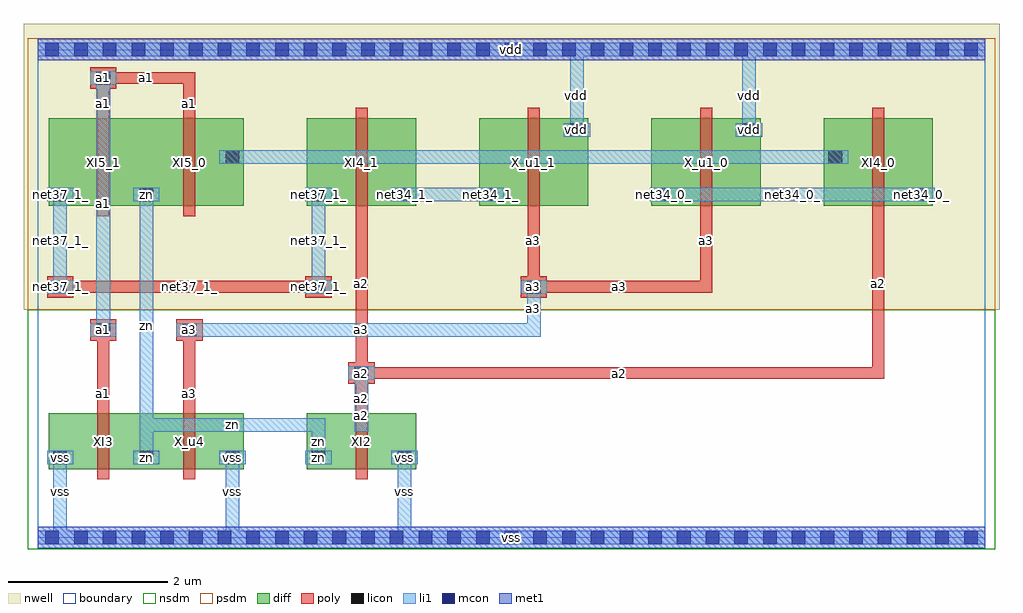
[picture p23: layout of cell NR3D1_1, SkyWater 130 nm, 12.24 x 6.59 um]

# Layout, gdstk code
import gdstk
lib = gdstk.Library(unit=1e-6, precision=1e-09)
def R(c, l, rs):  # rectangles x0, y0, x1, y1
    for r in rs: c.add(gdstk.rectangle(r[:2], r[2:], *l))
def A(c, l, x, y, w, h, nx, ny, dx, dy):  # array of equal rectangles
    R(c, l, [(x+i*dx, y+j*dy, x+i*dx+w, y+j*dy+h) for i in range(nx) for j in range(ny)])
L0_0 = (0, 0)
nwell = (64, 20)
diff = (65, 20)
poly = (66, 20)
licon = (66, 44)
li1 = (67, 20)
mcon = (67, 44)
met1 = (68, 20)
nsdm = (93, 44)
psdm = (94, 20)
boundary = (235, 4)

nr3d1_1 = lib.new_cell('NR3D1_1')
R(nr3d1_1, nwell, [(-0.18,2.86,12.06,6.445)])
A(nr3d1_1, diff, 0.135, 0.86, 0.29, 0.29, 5, 1, 1.08, 0)
A(nr3d1_1, diff, 1.215, 4.16, 1.37, 1.1, 5, 1, 2.16, 0)
A(nr3d1_1, diff, 3.375, 4.16, 0.29, 0.29, 3, 1, 1.08, 0)
R(nr3d1_1, diff, [(0.135,0.86,1.505,1.56), (1.215,0.86,2.585,1.56), (3.375,0.86,4.745,1.56), (0.135,4.16,1.505,5.26), (0.135,4.16,0.425,4.45), (1.215,4.16,1.505,4.45), (7.695,4.16,7.985,4.45), (10.935,4.16,11.225,4.45), (2.295,4.63,2.585,4.92), (9.855,4.63,10.145,4.92), (6.615,4.97,6.905,5.26), (8.775,4.97,9.065,5.26)])
A(nr3d1_1, poly, 1.825, 4.03, 0.15, 1.36, 5, 1, 2.16, 0)
R(nr3d1_1, poly, [(0.745,0.73,0.895,1.69), (1.825,0.73,1.975,1.69), (3.985,0.73,4.135,1.69), (0.745,0.93,0.895,2.68), (1.825,0.93,1.975,2.68), (3.985,0.93,4.135,2.14), (3.895,1.93,4.225,2.2), (3.985,1.99,10.615,2.14), (3.985,1.99,4.135,4.38), (10.465,1.99,10.615,4.38), (0.655,2.47,0.985,2.74), (1.735,2.47,2.065,2.74), (0.115,3.01,0.445,3.28), (3.355,3.01,3.685,3.28), (6.055,3.01,6.385,3.28), (0.205,3.07,3.595,3.22), (6.145,3.07,6.295,4.38), (6.145,3.07,8.455,3.22), (8.305,3.07,8.455,4.38), (0.745,4.03,0.895,5.39), (0.745,5.04,0.895,5.84), (1.825,5.04,1.975,5.84), (0.655,5.63,0.985,5.9), (0.745,5.69,1.975,5.84)])
A(nr3d1_1, licon, 0.195, 0.92, 0.17, 0.17, 5, 1, 1.08, 0)
A(nr3d1_1, licon, 3.435, 4.22, 0.17, 0.17, 3, 1, 1.08, 0)
R(nr3d1_1, licon, [(3.975,1.98,4.145,2.15), (0.735,2.52,0.905,2.69), (1.815,2.52,1.985,2.69), (0.195,3.06,0.365,3.23), (3.435,3.06,3.605,3.23), (6.135,3.06,6.305,3.23), (0.195,4.22,0.365,4.39), (1.275,4.22,1.445,4.39), (7.755,4.22,7.925,4.39), (10.995,4.22,11.165,4.39), (2.355,4.69,2.525,4.86), (9.915,4.69,10.085,4.86), (6.675,5.03,6.845,5.2), (8.835,5.03,9.005,5.2), (0.735,5.68,0.905,5.85)])
A(nr3d1_1, li1, 0.195, 0.06, 0.17, 1.03, 3, 1, 2.16, 0)
A(nr3d1_1, li1, 0.115, 0.92, 0.33, 0.17, 5, 1, 1.08, 0)
A(nr3d1_1, li1, 3.355, 4.22, 0.33, 0.17, 3, 1, 1.08, 0)
R(nr3d1_1, li1, [(0,-0.085,11.88,0.085), (1.275,0.92,1.445,4.39), (3.435,0.92,3.605,1.5), (1.275,1.33,3.605,1.5), (3.975,1.33,4.145,2.15), (3.895,1.98,4.225,2.15), (0.655,2.52,0.985,2.69), (0.735,2.52,0.905,5.85), (1.735,2.52,2.065,2.69), (1.815,2.52,6.305,2.69), (6.135,2.52,6.305,3.23), (0.115,3.06,0.445,3.23), (0.195,3.06,0.365,4.39), (3.355,3.06,3.685,3.23), (3.435,3.06,3.605,4.39), (6.055,3.06,6.385,3.23), (0.115,4.22,0.445,4.39), (1.195,4.22,1.525,4.39), (4.515,4.22,5.765,4.39), (7.675,4.22,8.005,4.39), (7.755,4.22,11.165,4.39), (10.915,4.22,11.245,4.39), (2.275,4.69,2.605,4.86), (2.355,4.69,10.085,4.86), (9.835,4.69,10.165,4.86), (6.595,5.03,6.925,5.2), (6.675,5.03,6.845,6.06), (8.755,5.03,9.085,5.2), (8.835,5.03,9.005,6.06), (0.655,5.68,0.985,5.85), (0,6.035,11.88,6.205)])
A(nr3d1_1, mcon, 0.095, -0.085, 0.17, 0.17, 33, 2, 0.36, 6.12)
R(nr3d1_1, met1, [(0,-0.135,11.88,0.135), (0,5.985,11.88,6.255)])
R(nr3d1_1, nsdm, [(-0.125,-0.145,12.005,0.145), (-0.125,0.145,12.005,2.86)])
R(nr3d1_1, psdm, [(-0.125,2.86,12.005,5.975), (-0.125,5.975,12.005,6.265)])
R(nr3d1_1, boundary, [(0,0,11.88,6.12)])
nr3d1_1.add(gdstk.FlexPath([(0.115,0.355),(11.245,0.355)], 0, ends="flush", simple_path=True, layer=0, datatype=0))  # L0_0
nr3d1_1.add(gdstk.FlexPath([(0.115,1.005),(11.245,1.005)], 0, ends="flush", simple_path=True, layer=0, datatype=0))  # L0_0
nr3d1_1.add(gdstk.FlexPath([(0.115,1.415),(11.245,1.415)], 0, ends="flush", simple_path=True, layer=0, datatype=0))  # L0_0
nr3d1_1.add(gdstk.FlexPath([(0.115,2.065),(11.245,2.065)], 0, ends="flush", simple_path=True, layer=0, datatype=0))  # L0_0
nr3d1_1.add(gdstk.FlexPath([(0.115,2.605),(11.245,2.605)], 0, ends="flush", simple_path=True, layer=0, datatype=0))  # L0_0
nr3d1_1.add(gdstk.FlexPath([(0.115,3.145),(11.245,3.145)], 0, ends="flush", simple_path=True, layer=0, datatype=0))  # L0_0
nr3d1_1.add(gdstk.FlexPath([(0.115,4.305),(11.245,4.305)], 0, ends="flush", simple_path=True, layer=0, datatype=0))  # L0_0
nr3d1_1.add(gdstk.FlexPath([(0.115,4.775),(11.245,4.775)], 0, ends="flush", simple_path=True, layer=0, datatype=0))  # L0_0
nr3d1_1.add(gdstk.FlexPath([(0.115,5.115),(11.245,5.115)], 0, ends="flush", simple_path=True, layer=0, datatype=0))  # L0_0
nr3d1_1.add(gdstk.FlexPath([(0.115,5.765),(11.245,5.765)], 0, ends="flush", simple_path=True, layer=0, datatype=0))  # L0_0
nr3d1_1.add(gdstk.FlexPath([(0.28,0.06),(0.28,6.06)], 0, ends="flush", simple_path=True, layer=0, datatype=0))  # L0_0
nr3d1_1.add(gdstk.FlexPath([(0.82,0.06),(0.82,6.06)], 0, ends="flush", simple_path=True, layer=0, datatype=0))  # L0_0
nr3d1_1.add(gdstk.FlexPath([(1.36,0.06),(1.36,6.06)], 0, ends="flush", simple_path=True, layer=0, datatype=0))  # L0_0
nr3d1_1.add(gdstk.FlexPath([(1.9,0.06),(1.9,6.06)], 0, ends="flush", simple_path=True, layer=0, datatype=0))  # L0_0
nr3d1_1.add(gdstk.FlexPath([(2.44,0.06),(2.44,6.06)], 0, ends="flush", simple_path=True, layer=0, datatype=0))  # L0_0
nr3d1_1.add(gdstk.FlexPath([(2.98,0.06),(2.98,6.06)], 0, ends="flush", simple_path=True, layer=0, datatype=0))  # L0_0
nr3d1_1.add(gdstk.FlexPath([(3.52,0.06),(3.52,6.06)], 0, ends="flush", simple_path=True, layer=0, datatype=0))  # L0_0
nr3d1_1.add(gdstk.FlexPath([(4.06,0.06),(4.06,6.06)], 0, ends="flush", simple_path=True, layer=0, datatype=0))  # L0_0
nr3d1_1.add(gdstk.FlexPath([(4.6,0.06),(4.6,6.06)], 0, ends="flush", simple_path=True, layer=0, datatype=0))  # L0_0
nr3d1_1.add(gdstk.FlexPath([(5.14,0.06),(5.14,6.06)], 0, ends="flush", simple_path=True, layer=0, datatype=0))  # L0_0
nr3d1_1.add(gdstk.FlexPath([(5.68,0.06),(5.68,6.06)], 0, ends="flush", simple_path=True, layer=0, datatype=0))  # L0_0
nr3d1_1.add(gdstk.FlexPath([(6.22,0.06),(6.22,6.06)], 0, ends="flush", simple_path=True, layer=0, datatype=0))  # L0_0
nr3d1_1.add(gdstk.FlexPath([(6.76,0.06),(6.76,6.06)], 0, ends="flush", simple_path=True, layer=0, datatype=0))  # L0_0
nr3d1_1.add(gdstk.FlexPath([(7.3,0.06),(7.3,6.06)], 0, ends="flush", simple_path=True, layer=0, datatype=0))  # L0_0
nr3d1_1.add(gdstk.FlexPath([(7.84,0.06),(7.84,6.06)], 0, ends="flush", simple_path=True, layer=0, datatype=0))  # L0_0
nr3d1_1.add(gdstk.FlexPath([(8.38,0.06),(8.38,6.06)], 0, ends="flush", simple_path=True, layer=0, datatype=0))  # L0_0
nr3d1_1.add(gdstk.FlexPath([(8.92,0.06),(8.92,6.06)], 0, ends="flush", simple_path=True, layer=0, datatype=0))  # L0_0
nr3d1_1.add(gdstk.FlexPath([(9.46,0.06),(9.46,6.06)], 0, ends="flush", simple_path=True, layer=0, datatype=0))  # L0_0
nr3d1_1.add(gdstk.FlexPath([(10,0.06),(10,6.06)], 0, ends="flush", simple_path=True, layer=0, datatype=0))  # L0_0
nr3d1_1.add(gdstk.FlexPath([(10.54,0.06),(10.54,6.06)], 0, ends="flush", simple_path=True, layer=0, datatype=0))  # L0_0
nr3d1_1.add(gdstk.FlexPath([(11.08,0.06),(11.08,6.06)], 0, ends="flush", simple_path=True, layer=0, datatype=0))  # L0_0
nr3d1_1.add(gdstk.Label('X_u4', (1.9,1.21), layer=65, texttype=20))
nr3d1_1.add(gdstk.Label('XI2', (4.06,1.21), layer=65, texttype=20))
nr3d1_1.add(gdstk.Label('XI3', (0.82,1.21), layer=65, texttype=20))
nr3d1_1.add(gdstk.Label('XI4_0', (10.54,4.71), layer=65, texttype=20))
nr3d1_1.add(gdstk.Label('X_u1_0', (8.38,4.71), layer=65, texttype=20))
nr3d1_1.add(gdstk.Label('X_u1_1', (6.22,4.71), layer=65, texttype=20))
nr3d1_1.add(gdstk.Label('XI4_1', (4.06,4.71), layer=65, texttype=20))
nr3d1_1.add(gdstk.Label('XI5_0', (1.9,4.71), layer=65, texttype=20))
nr3d1_1.add(gdstk.Label('XI5_1', (0.82,4.71), layer=65, texttype=20))
nr3d1_1.add(gdstk.Label('zn', (1.36,1.005), layer=65, texttype=20))
nr3d1_1.add(gdstk.Label('zn', (3.52,1.005), layer=65, texttype=20))
nr3d1_1.add(gdstk.Label('zn', (1.36,4.305), layer=65, texttype=20))
nr3d1_1.add(gdstk.Label('net37_0_', (10,4.775), layer=65, texttype=20))
nr3d1_1.add(gdstk.Label('net37_0_', (2.44,4.775), layer=65, texttype=20))
nr3d1_1.add(gdstk.Label('net34_0_', (11.08,4.305), layer=65, texttype=20))
nr3d1_1.add(gdstk.Label('net34_0_', (7.84,4.305), layer=65, texttype=20))
nr3d1_1.add(gdstk.Label('net34_1_', (5.68,4.305), layer=65, texttype=20))
nr3d1_1.add(gdstk.Label('net34_1_', (4.6,4.305), layer=65, texttype=20))
nr3d1_1.add(gdstk.Label('net37_1_', (3.52,4.305), layer=65, texttype=20))
nr3d1_1.add(gdstk.Label('net37_1_', (0.28,4.305), layer=65, texttype=20))
nr3d1_1.add(gdstk.Label('vss', (2.44,1.005), layer=65, texttype=20))
nr3d1_1.add(gdstk.Label('vss', (4.6,1.005), layer=65, texttype=20))
nr3d1_1.add(gdstk.Label('vss', (0.28,1.005), layer=65, texttype=20))
nr3d1_1.add(gdstk.Label('vdd', (8.92,5.115), layer=65, texttype=20))
nr3d1_1.add(gdstk.Label('vdd', (6.76,5.115), layer=65, texttype=20))
nr3d1_1.add(gdstk.Label('a3', (1.9,1.805), layer=66, texttype=20))
nr3d1_1.add(gdstk.Label('a3', (1.9,2.605), layer=66, texttype=20))
nr3d1_1.add(gdstk.Label('a3', (6.22,3.145), layer=66, texttype=20))
nr3d1_1.add(gdstk.Label('a3', (6.22,3.725), layer=66, texttype=20))
nr3d1_1.add(gdstk.Label('a3', (8.38,3.725), layer=66, texttype=20))
nr3d1_1.add(gdstk.Label('a3', (7.3,3.145), layer=66, texttype=20))
nr3d1_1.add(gdstk.Label('a2', (4.06,1.535), layer=66, texttype=20))
nr3d1_1.add(gdstk.Label('a2', (7.3,2.065), layer=66, texttype=20))
nr3d1_1.add(gdstk.Label('a2', (10.54,3.185), layer=66, texttype=20))
nr3d1_1.add(gdstk.Label('a2', (4.06,3.185), layer=66, texttype=20))
nr3d1_1.add(gdstk.Label('a2', (4.06,2.065), layer=66, texttype=20))
nr3d1_1.add(gdstk.Label('a1', (0.82,1.805), layer=66, texttype=20))
nr3d1_1.add(gdstk.Label('a1', (0.82,2.605), layer=66, texttype=20))
nr3d1_1.add(gdstk.Label('a1', (0.82,5.765), layer=66, texttype=20))
nr3d1_1.add(gdstk.Label('a1', (1.36,5.765), layer=66, texttype=20))
nr3d1_1.add(gdstk.Label('a1', (1.9,5.44), layer=66, texttype=20))
nr3d1_1.add(gdstk.Label('a1', (0.82,5.44), layer=66, texttype=20))
nr3d1_1.add(gdstk.Label('net37_1_', (3.52,3.145), layer=66, texttype=20))
nr3d1_1.add(gdstk.Label('net37_1_', (1.9,3.145), layer=66, texttype=20))
nr3d1_1.add(gdstk.Label('net37_1_', (0.28,3.145), layer=66, texttype=20))
nr3d1_1.add(gdstk.Label('zn', (1.36,1.005), layer=66, texttype=44))
nr3d1_1.add(gdstk.Label('zn', (3.52,1.005), layer=66, texttype=44))
nr3d1_1.add(gdstk.Label('zn', (1.36,4.305), layer=66, texttype=44))
nr3d1_1.add(gdstk.Label('a3', (1.9,2.605), layer=66, texttype=44))
nr3d1_1.add(gdstk.Label('a3', (6.22,3.145), layer=66, texttype=44))
nr3d1_1.add(gdstk.Label('a2', (4.06,2.065), layer=66, texttype=44))
nr3d1_1.add(gdstk.Label('a1', (0.82,2.605), layer=66, texttype=44))
nr3d1_1.add(gdstk.Label('a1', (0.82,5.765), layer=66, texttype=44))
nr3d1_1.add(gdstk.Label('net37_0_', (10,4.775), layer=66, texttype=44))
nr3d1_1.add(gdstk.Label('net37_0_', (2.44,4.775), layer=66, texttype=44))
nr3d1_1.add(gdstk.Label('net34_0_', (11.08,4.305), layer=66, texttype=44))
nr3d1_1.add(gdstk.Label('net34_0_', (7.84,4.305), layer=66, texttype=44))
nr3d1_1.add(gdstk.Label('net34_1_', (5.68,4.305), layer=66, texttype=44))
nr3d1_1.add(gdstk.Label('net34_1_', (4.6,4.305), layer=66, texttype=44))
nr3d1_1.add(gdstk.Label('net37_1_', (3.52,4.305), layer=66, texttype=44))
nr3d1_1.add(gdstk.Label('net37_1_', (0.28,4.305), layer=66, texttype=44))
nr3d1_1.add(gdstk.Label('net37_1_', (3.52,3.145), layer=66, texttype=44))
nr3d1_1.add(gdstk.Label('net37_1_', (0.28,3.145), layer=66, texttype=44))
nr3d1_1.add(gdstk.Label('vss', (2.44,1.005), layer=66, texttype=44))
nr3d1_1.add(gdstk.Label('vss', (4.6,1.005), layer=66, texttype=44))
nr3d1_1.add(gdstk.Label('vss', (0.28,1.005), layer=66, texttype=44))
nr3d1_1.add(gdstk.Label('vdd', (8.92,5.115), layer=66, texttype=44))
nr3d1_1.add(gdstk.Label('vdd', (6.76,5.115), layer=66, texttype=44))
nr3d1_1.add(gdstk.Label('zn', (1.36,1.005), layer=67, texttype=16))
nr3d1_1.add(gdstk.Label('zn', (3.52,1.005), layer=67, texttype=16))
nr3d1_1.add(gdstk.Label('zn', (1.36,4.305), layer=67, texttype=16))
nr3d1_1.add(gdstk.Label('zn', (1.36,2.655), layer=67, texttype=16))
nr3d1_1.add(gdstk.Label('zn', (3.52,1.21), layer=67, texttype=16))
nr3d1_1.add(gdstk.Label('zn', (2.44,1.415), layer=67, texttype=16))
nr3d1_1.add(gdstk.Label('a3', (1.9,2.605), layer=67, texttype=16))
nr3d1_1.add(gdstk.Label('a3', (4.06,2.605), layer=67, texttype=16))
nr3d1_1.add(gdstk.Label('a3', (6.22,2.875), layer=67, texttype=16))
nr3d1_1.add(gdstk.Label('a3', (6.22,3.145), layer=67, texttype=16))
nr3d1_1.add(gdstk.Label('a2', (4.06,2.065), layer=67, texttype=16))
nr3d1_1.add(gdstk.Label('a2', (4.06,1.74), layer=67, texttype=16))
nr3d1_1.add(gdstk.Label('a1', (0.82,2.605), layer=67, texttype=16))
nr3d1_1.add(gdstk.Label('a1', (0.82,4.185), layer=67, texttype=16))
nr3d1_1.add(gdstk.Label('a1', (0.82,5.765), layer=67, texttype=16))
nr3d1_1.add(gdstk.Label('net37_0_', (10,4.775), layer=67, texttype=20))
nr3d1_1.add(gdstk.Label('net37_0_', (2.44,4.775), layer=67, texttype=20))
nr3d1_1.add(gdstk.Label('net37_0_', (6.22,4.775), layer=67, texttype=20))
nr3d1_1.add(gdstk.Label('net34_0_', (11.08,4.305), layer=67, texttype=20))
nr3d1_1.add(gdstk.Label('net34_0_', (7.84,4.305), layer=67, texttype=20))
nr3d1_1.add(gdstk.Label('net34_0_', (9.46,4.305), layer=67, texttype=20))
nr3d1_1.add(gdstk.Label('net34_1_', (5.68,4.305), layer=67, texttype=20))
nr3d1_1.add(gdstk.Label('net34_1_', (4.6,4.305), layer=67, texttype=20))
nr3d1_1.add(gdstk.Label('net34_1_', (5.14,4.305), layer=67, texttype=20))
nr3d1_1.add(gdstk.Label('net37_1_', (3.52,4.305), layer=67, texttype=20))
nr3d1_1.add(gdstk.Label('net37_1_', (0.28,4.305), layer=67, texttype=20))
nr3d1_1.add(gdstk.Label('net37_1_', (3.52,3.725), layer=67, texttype=20))
nr3d1_1.add(gdstk.Label('net37_1_', (3.52,3.145), layer=67, texttype=20))
nr3d1_1.add(gdstk.Label('net37_1_', (0.28,3.145), layer=67, texttype=20))
nr3d1_1.add(gdstk.Label('net37_1_', (0.28,3.725), layer=67, texttype=20))
nr3d1_1.add(gdstk.Label('vss', (2.44,1.005), layer=67, texttype=20))
nr3d1_1.add(gdstk.Label('vss', (2.44,0.575), layer=67, texttype=20))
nr3d1_1.add(gdstk.Label('vss', (4.6,1.005), layer=67, texttype=20))
nr3d1_1.add(gdstk.Label('vss', (4.6,0.575), layer=67, texttype=20))
nr3d1_1.add(gdstk.Label('vss', (0.28,1.005), layer=67, texttype=20))
nr3d1_1.add(gdstk.Label('vss', (0.28,0.575), layer=67, texttype=20))
nr3d1_1.add(gdstk.Label('vdd', (8.92,5.115), layer=67, texttype=20))
nr3d1_1.add(gdstk.Label('vdd', (8.92,5.545), layer=67, texttype=20))
nr3d1_1.add(gdstk.Label('vdd', (6.76,5.115), layer=67, texttype=20))
nr3d1_1.add(gdstk.Label('vdd', (6.76,5.545), layer=67, texttype=20))
nr3d1_1.add(gdstk.Label('vss', (5.94,0), layer=67, texttype=16))
nr3d1_1.add(gdstk.Label('vdd', (5.94,6.12), layer=67, texttype=16))
nr3d1_1.add(gdstk.Label('vss', (5.94,0), layer=68, texttype=16))
nr3d1_1.add(gdstk.Label('vdd', (5.94,6.12), layer=68, texttype=16))

lib.write_gds('NR3D1_1.gds')
